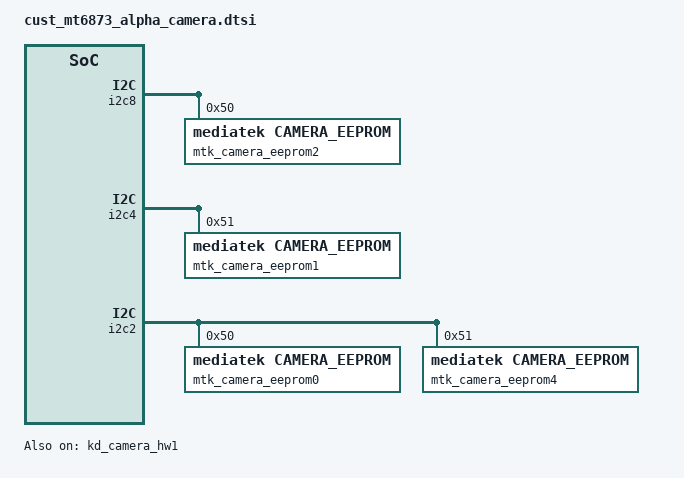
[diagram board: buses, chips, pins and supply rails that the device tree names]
/*
 * Copyright (c) 2019 MediaTek Inc.
 *
 * This program is free software; you can redistribute it and/or modify
 * it under the terms of the GNU General Public License version 2 as
 * published by the Free Software Foundation.
 *
 * This program is distributed in the hope that it will be useful,
 * but WITHOUT ANY WARRANTY; without even the implied warranty of
 * MERCHANTABILITY or FITNESS FOR A PARTICULAR PURPOSE.  See the
 * GNU General Public License for more details.
 */
/* CAMERA GPIO standardization */
&pio {
	camera_pins_cam0_rst_0: cam0@0 {
		pins_cmd_dat {
			pinmux = <PINMUX_GPIO143__FUNC_GPIO143>;
			slew-rate = <1>;
			output-low;
		};
	};
	camera_pins_cam0_rst_1: cam0@1 {
		pins_cmd_dat {
			pinmux = <PINMUX_GPIO143__FUNC_GPIO143>;
			slew-rate = <1>;
			output-high;
		};
	};
	camera_pins_cam0_pnd_0: cam0@2 {
		pins_cmd_dat {
			pinmux = <PINMUX_GPIO143__FUNC_GPIO143>;
			slew-rate = <1>;
			output-low;
		};
	};
	camera_pins_cam0_pnd_1: cam0@3 {
		pins_cmd_dat {
			pinmux = <PINMUX_GPIO143__FUNC_GPIO143>;
			slew-rate = <1>;
			output-high;
		};
	};
	camera_pins_cam1_rst_0: cam1@0 {
		pins_cmd_dat {
			pinmux = <PINMUX_GPIO130__FUNC_GPIO130>;
			slew-rate = <1>;
			output-low;
		};
	};
	camera_pins_cam1_rst_1: cam1@1 {
		pins_cmd_dat {
			pinmux = <PINMUX_GPIO130__FUNC_GPIO130>;
			slew-rate = <1>;
			output-high;
		};
	};
	camera_pins_cam1_pnd_0: cam1@2 {
		pins_cmd_dat {
			pinmux = <PINMUX_GPIO130__FUNC_GPIO130>;
			slew-rate = <1>;
			output-low;
		};
	};
	camera_pins_cam1_pnd_1: cam1@3 {
		pins_cmd_dat {
			pinmux = <PINMUX_GPIO130__FUNC_GPIO130>;
			slew-rate = <1>;
			output-high;
		};
	};
	camera_pins_cam2_rst_0: cam2@0 {
		pins_cmd_dat {
			pinmux = <PINMUX_GPIO144__FUNC_GPIO144>;
			slew-rate = <1>;
			output-low;
		};
	};
	camera_pins_cam2_rst_1: cam2@1 {
		pins_cmd_dat {
			pinmux = <PINMUX_GPIO144__FUNC_GPIO144>;
			slew-rate = <1>;
			output-high;
		};
	};
	camera_pins_cam2_pnd_0: cam2@2 {
		pins_cmd_dat {
			pinmux = <PINMUX_GPIO144__FUNC_GPIO144>;
			slew-rate = <1>;
			output-low;
		};
	};
	camera_pins_cam2_pnd_1: cam2@3 {
		pins_cmd_dat {
			pinmux = <PINMUX_GPIO144__FUNC_GPIO144>;
			slew-rate = <1>;
			output-high;
		};
	};
	camera_pins_cam3_rst_0: cam3@0 {
		pins_cmd_dat {
			pinmux = <PINMUX_GPIO145__FUNC_GPIO145>;
			slew-rate = <1>;
			output-low;
		};
	};
	camera_pins_cam3_rst_1: cam3@1 {
		pins_cmd_dat {
			pinmux = <PINMUX_GPIO145__FUNC_GPIO145>;
			slew-rate = <1>;
			output-high;
		};
	};
	camera_pins_cam3_pnd_0: cam3@2 {
		pins_cmd_dat {
			pinmux = <PINMUX_GPIO145__FUNC_GPIO145>;
			slew-rate = <1>;
			output-low;
		};
	};
	camera_pins_cam3_pnd_1: cam3@3 {
		pins_cmd_dat {
			pinmux = <PINMUX_GPIO145__FUNC_GPIO145>;
			slew-rate = <1>;
			output-high;
		};
	};
	camera_pins_cam4_rst_0: cam4@0 {
		pins_cmd_dat {
			pinmux = <PINMUX_GPIO132__FUNC_GPIO132>;
			slew-rate = <1>;
			output-low;
		};
	};
	camera_pins_cam4_rst_1: cam4@1 {
		pins_cmd_dat {
			pinmux = <PINMUX_GPIO132__FUNC_GPIO132>;
			slew-rate = <1>;
			output-high;
		};
	};
	camera_pins_cam4_pnd_0: cam4@2 {
		pins_cmd_dat {
			pinmux = <PINMUX_GPIO132__FUNC_GPIO132>;
			slew-rate = <1>;
			output-low;
		};
	};
	camera_pins_cam4_pnd_1: cam4@3 {
		pins_cmd_dat {
			pinmux = <PINMUX_GPIO132__FUNC_GPIO132>;
			slew-rate = <1>;
			output-high;
		};
	};
	camera_pins_cam5_rst_0: cam5@0 {
		pins_cmd_dat {
			pinmux = <PINMUX_GPIO131__FUNC_GPIO131>;
			slew-rate = <1>;
			output-low;
		};
	};
	camera_pins_cam5_rst_1: cam5@1 {
		pins_cmd_dat {
			pinmux = <PINMUX_GPIO131__FUNC_GPIO131>;
			slew-rate = <1>;
			output-high;
		};
	};
	camera_pins_cam5_pnd_0: cam5@2 {
		pins_cmd_dat {
			pinmux = <PINMUX_GPIO131__FUNC_GPIO131>;
			slew-rate = <1>;
			output-low;
		};
	};
	camera_pins_cam5_pnd_1: cam5@3 {
		pins_cmd_dat {
			pinmux = <PINMUX_GPIO131__FUNC_GPIO131>;
			slew-rate = <1>;
			output-high;
		};
	};
	camera_pins_cam0_vcamd_0: cam0@vcam0 {
		pins_cmd_dat {
			pinmux = <PINMUX_GPIO147__FUNC_GPIO147>;
			slew-rate = <1>;
			output-low;
		};
	};
	camera_pins_cam0_vcamd_1: cam0@vcam1 {
		pins_cmd_dat {
			pinmux = <PINMUX_GPIO147__FUNC_GPIO147>;
			slew-rate = <1>;
			output-high;
		};
	};
	camera_pins_cam0_vcama_0: cam0@vcam2 {
		pins_cmd_dat {
			pinmux = <PINMUX_GPIO146__FUNC_GPIO146>;
			slew-rate = <1>;
			output-low;
		};
	};
	camera_pins_cam0_vcama_1: cam0@vcam3 {
		pins_cmd_dat {
			pinmux = <PINMUX_GPIO146__FUNC_GPIO146>;
			slew-rate = <1>;
			output-high;
		};
	};
	camera_pins_cam1_vcamd_0: cam1@vcam0 {
		pins_cmd_dat {
			pinmux = <PINMUX_GPIO147__FUNC_GPIO147>;
			slew-rate = <1>;
			output-low;
		};
	};
	camera_pins_cam1_vcamd_1: cam1@vcam1 {
		pins_cmd_dat {
			pinmux = <PINMUX_GPIO147__FUNC_GPIO147>;
			slew-rate = <1>;
			output-high;
		};
	};
	camera_pins_cam1_vcama_0: cam1@vcam2 {
		pins_cmd_dat {
			pinmux = <PINMUX_GPIO134__FUNC_GPIO134>;
			slew-rate = <1>;
			output-low;
		};
	};
	camera_pins_cam1_vcama_1: cam1@vcam3 {
		pins_cmd_dat {
			pinmux = <PINMUX_GPIO134__FUNC_GPIO134>;
			slew-rate = <1>;
			output-high;
		};
	};
	camera_pins_cam2_vcamd_0: cam2@vcam0 {
		pins_cmd_dat {
			pinmux = <PINMUX_GPIO133__FUNC_GPIO133>;
			slew-rate = <1>;
			output-low;
		};
	};
	camera_pins_cam2_vcamd_1: cam2@vcam1 {
		pins_cmd_dat {
			pinmux = <PINMUX_GPIO133__FUNC_GPIO133>;
			slew-rate = <1>;
			output-high;
		};
	};
	camera_pins_cam2_vcama_0: cam2@vcam2 {
		pins_cmd_dat {
			pinmux = <PINMUX_GPIO134__FUNC_GPIO134>;
			slew-rate = <1>;
			output-low;
		};
	};
	camera_pins_cam2_vcama_1: cam2@vcam3 {
		pins_cmd_dat {
			pinmux = <PINMUX_GPIO134__FUNC_GPIO134>;
			slew-rate = <1>;
			output-high;
		};
	};
	camera_pins_cam3_vcamd_0: cam3@vcam0 {
		pins_cmd_dat {
			pinmux = <PINMUX_GPIO133__FUNC_GPIO133>;
			slew-rate = <1>;
			output-low;
		};
	};
	camera_pins_cam3_vcamd_1: cam3@vcam1 {
		pins_cmd_dat {
			pinmux = <PINMUX_GPIO133__FUNC_GPIO133>;
			slew-rate = <1>;
			output-high;
		};
	};
	camera_pins_cam3_vcama_0: cam3@vcam2 {
		pins_cmd_dat {
			pinmux = <PINMUX_GPIO146__FUNC_GPIO146>;
			slew-rate = <1>;
			output-low;
		};
	};
	camera_pins_cam3_vcama_1: cam3@vcam3 {
		pins_cmd_dat {
			pinmux = <PINMUX_GPIO146__FUNC_GPIO146>;
			slew-rate = <1>;
			output-high;
		};
	};
	camera_pins_cam4_vcamd_0: cam4@vcam0 {
		pins_cmd_dat {
			pinmux = <PINMUX_GPIO19__FUNC_GPIO19>;
			slew-rate = <1>;
			output-low;
		};
	};
	camera_pins_cam4_vcamd_1: cam4@vcam1 {
		pins_cmd_dat {
			pinmux = <PINMUX_GPIO19__FUNC_GPIO19>;
			slew-rate = <1>;
			output-high;
		};
	};
	camera_pins_cam4_vcama_0: cam4@vcam2 {
		pins_cmd_dat {
			pinmux = <PINMUX_GPIO134__FUNC_GPIO134>;
			slew-rate = <1>;
			output-low;
		};
	};
	camera_pins_cam4_vcama_1: cam4@vcam3 {
		pins_cmd_dat {
			pinmux = <PINMUX_GPIO134__FUNC_GPIO134>;
			slew-rate = <1>;
			output-high;
		};
	};
	camera_pins_cam5_vcamd_0: cam5@vcam0 {
		pins_cmd_dat {
			pinmux = <PINMUX_GPIO19__FUNC_GPIO19>;
			slew-rate = <1>;
			output-low;
		};
	};
	camera_pins_cam5_vcamd_1: cam5@vcam1 {
		pins_cmd_dat {
			pinmux = <PINMUX_GPIO19__FUNC_GPIO19>;
			slew-rate = <1>;
			output-high;
		};
	};
	camera_pins_cam5_vcama_0: cam5@vcam2 {
		pins_cmd_dat {
			pinmux = <PINMUX_GPIO134__FUNC_GPIO134>;
			slew-rate = <1>;
			output-low;
		};
	};
	camera_pins_cam5_vcama_1: cam5@vcam3 {
		pins_cmd_dat {
			pinmux = <PINMUX_GPIO134__FUNC_GPIO134>;
			slew-rate = <1>;
			output-high;
		};
	};
	camera_pins_cam0_mclk_off: camera_pins_cam0_mclk_off {
		pins_cmd_dat {
			pinmux = <PINMUX_GPIO149__FUNC_GPIO149>;
			drive-strength = <1>;
		};
	};
	camera_pins_cam0_mclk_2ma: camera_pins_cam0_mclk_2ma {
		pins_cmd_dat {
			pinmux = <PINMUX_GPIO149__FUNC_CMMCLK0>;
			drive-strength = <0>;
		};
	};
	camera_pins_cam0_mclk_4ma: camera_pins_cam0_mclk_4ma {
		pins_cmd_dat {
			pinmux = <PINMUX_GPIO149__FUNC_CMMCLK0>;
			drive-strength = <1>;
		};
	};
	camera_pins_cam0_mclk_6ma: camera_pins_cam0_mclk_6ma {
		pins_cmd_dat {
			pinmux = <PINMUX_GPIO149__FUNC_CMMCLK0>;
			drive-strength = <2>;
		};
	};
	camera_pins_cam0_mclk_8ma: camera_pins_cam0_mclk_8ma {
		pins_cmd_dat {
			pinmux = <PINMUX_GPIO149__FUNC_CMMCLK0>;
			drive-strength = <3>;
		};
	};
	camera_pins_cam1_mclk_off: camera_pins_cam1_mclk_off {
		pins_cmd_dat {
			pinmux = <PINMUX_GPIO136__FUNC_GPIO136>;
			drive-strength = <1>;
		};
	};
	camera_pins_cam1_mclk_2ma: camera_pins_cam1_mclk_2ma {
		pins_cmd_dat {
			pinmux = <PINMUX_GPIO136__FUNC_CMMCLK3>;
			drive-strength = <0>;
		};
	};
	camera_pins_cam1_mclk_4ma: camera_pins_cam1_mclk_4ma {
		pins_cmd_dat {
			pinmux = <PINMUX_GPIO136__FUNC_CMMCLK3>;
			drive-strength = <1>;
		};
	};
	camera_pins_cam1_mclk_6ma: camera_pins_cam1_mclk_6ma {
		pins_cmd_dat {
			pinmux = <PINMUX_GPIO136__FUNC_CMMCLK3>;
			drive-strength = <2>;
		};
	};
	camera_pins_cam1_mclk_8ma: camera_pins_cam1_mclk_8ma {
		pins_cmd_dat {
			pinmux = <PINMUX_GPIO136__FUNC_CMMCLK3>;
			drive-strength = <3>;
		};
	};
	camera_pins_cam2_mclk_off: camera_pins_cam2_mclk_off {
		pins_cmd_dat {
			pinmux = <PINMUX_GPIO150__FUNC_GPIO150>;
			drive-strength = <1>;
		};
	};
	camera_pins_cam2_mclk_2ma: camera_pins_cam2_mclk_2ma {
		pins_cmd_dat {
			pinmux = <PINMUX_GPIO150__FUNC_CMMCLK1>;
			drive-strength = <0>;
		};
	};
	camera_pins_cam2_mclk_4ma: camera_pins_cam2_mclk_4ma {
		pins_cmd_dat {
			pinmux = <PINMUX_GPIO150__FUNC_CMMCLK1>;
			drive-strength = <1>;
		};
	};
	camera_pins_cam2_mclk_6ma: camera_pins_cam2_mclk_6ma {
		pins_cmd_dat {
			pinmux = <PINMUX_GPIO150__FUNC_CMMCLK1>;
			drive-strength = <2>;
		};
	};
	camera_pins_cam2_mclk_8ma: camera_pins_cam2_mclk_8ma {
		pins_cmd_dat {
			pinmux = <PINMUX_GPIO150__FUNC_CMMCLK1>;
			drive-strength = <3>;
		};
	};
	camera_pins_cam3_mclk_off: camera_pins_cam3_mclk_off {
		pins_cmd_dat {
			pinmux = <PINMUX_GPIO151__FUNC_GPIO151>;
			drive-strength = <1>;
		};
	};
	camera_pins_cam3_mclk_2ma: camera_pins_cam3_mclk_2ma {
		pins_cmd_dat {
			pinmux = <PINMUX_GPIO151__FUNC_CMMCLK2>;
			drive-strength = <0>;
		};
	};
	camera_pins_cam3_mclk_4ma: camera_pins_cam3_mclk_4ma {
		pins_cmd_dat {
			pinmux = <PINMUX_GPIO151__FUNC_CMMCLK2>;
			drive-strength = <1>;
		};
	};
	camera_pins_cam3_mclk_6ma: camera_pins_cam3_mclk_6ma {
		pins_cmd_dat {
			pinmux = <PINMUX_GPIO151__FUNC_CMMCLK2>;
			drive-strength = <2>;
		};
	};
	camera_pins_cam3_mclk_8ma: camera_pins_cam3_mclk_8ma {
		pins_cmd_dat {
			pinmux = <PINMUX_GPIO151__FUNC_CMMCLK2>;
			drive-strength = <3>;
		};
	};
	camera_pins_cam4_mclk_off: camera_pins_cam4_mclk_off {
		pins_cmd_dat {
			pinmux = <PINMUX_GPIO138__FUNC_GPIO138>;
			drive-strength = <1>;
		};
	};
	camera_pins_cam4_mclk_2ma: camera_pins_cam4_mclk_2ma {
		pins_cmd_dat {
			pinmux = <PINMUX_GPIO138__FUNC_CMMCLK5>;
			drive-strength = <0>;
		};
	};
	camera_pins_cam4_mclk_4ma: camera_pins_cam4_mclk_4ma {
		pins_cmd_dat {
			pinmux = <PINMUX_GPIO138__FUNC_CMMCLK5>;
			drive-strength = <1>;
		};
	};
	camera_pins_cam4_mclk_6ma: camera_pins_cam4_mclk_6ma {
		pins_cmd_dat {
			pinmux = <PINMUX_GPIO138__FUNC_CMMCLK5>;
			drive-strength = <2>;
		};
	};
	camera_pins_cam4_mclk_8ma: camera_pins_cam4_mclk_8ma {
		pins_cmd_dat {
			pinmux = <PINMUX_GPIO138__FUNC_CMMCLK5>;
			drive-strength = <3>;
		};
	};

	camera_pins_cam5_mclk_off: camera_pins_cam5_mclk_off {
		pins_cmd_dat {
			pinmux = <PINMUX_GPIO137__FUNC_GPIO137>;
			drive-strength = <1>;
		};
	};
	camera_pins_cam5_mclk_2ma: camera_pins_cam5_mclk_2ma {
		pins_cmd_dat {
			pinmux = <PINMUX_GPIO137__FUNC_CMMCLK4>;
			drive-strength = <0>;
		};
	};
	camera_pins_cam5_mclk_4ma: camera_pins_cam5_mclk_4ma {
		pins_cmd_dat {
			pinmux = <PINMUX_GPIO137__FUNC_CMMCLK4>;
			drive-strength = <1>;
		};
	};
	camera_pins_cam5_mclk_6ma: camera_pins_cam5_mclk_6ma {
		pins_cmd_dat {
			pinmux = <PINMUX_GPIO137__FUNC_CMMCLK4>;
			drive-strength = <2>;
		};
	};
	camera_pins_cam5_mclk_8ma: camera_pins_cam5_mclk_8ma {
		pins_cmd_dat {
			pinmux = <PINMUX_GPIO137__FUNC_CMMCLK4>;
			drive-strength = <3>;
		};
	};
	camera_pins_cam_mipi_switch_en_1: mipi_en@1 {
		pins_cmd_dat {
			pinmux = <PINMUX_GPIO170__FUNC_GPIO170>;
			slew-rate = <1>;
			output-high;
		};
	};
	camera_pins_cam_mipi_switch_en_0: mipi_en@0 {
		pins_cmd_dat {
			pinmux = <PINMUX_GPIO170__FUNC_GPIO170>;
			slew-rate = <1>;
			output-low;
		};
	};
	camera4_pins_cam_mipi_switch_sel_1: mipi_sel@1 {
		pins_cmd_dat {
			pinmux = <PINMUX_GPIO19__FUNC_GPIO19>;
			slew-rate = <1>;
			output-high;
		};
	};
	camera4_pins_cam_mipi_switch_sel_0: mipi_sel@0 {
		pins_cmd_dat {
			pinmux = <PINMUX_GPIO19__FUNC_GPIO19>;
			slew-rate = <1>;
			output-low;
		};
	};
	camera_pins_default: camdefault {
	};
};
&kd_camera_hw1 {
	pinctrl-names = "default",
			"cam0_rst0", "cam0_rst1",
			"cam0_pnd0", "cam0_pnd1",
			"cam1_rst0", "cam1_rst1",
			"cam1_pnd0", "cam1_pnd1",
			"cam2_rst0", "cam2_rst1",
			"cam2_pnd0", "cam2_pnd1",
			"cam3_rst0", "cam3_rst1",
			"cam3_pnd0", "cam3_pnd1",
			"cam4_rst0", "cam4_rst1",
			"cam4_pnd0", "cam4_pnd1",
			"cam5_rst0", "cam5_rst1",
			"cam5_pnd0", "cam5_pnd1",
			"cam0_ldo_vcamd_0", "cam0_ldo_vcamd_1",
			"cam0_ldo_vcama_0", "cam0_ldo_vcama_1",
			"cam1_ldo_vcamd_0", "cam1_ldo_vcamd_1",
			"cam1_ldo_vcama_0", "cam1_ldo_vcama_1",
			"cam2_ldo_vcamd_0", "cam2_ldo_vcamd_1",
			"cam2_ldo_vcama_0", "cam2_ldo_vcama_1",
			"cam3_ldo_vcamd_0", "cam3_ldo_vcamd_1",
			"cam3_ldo_vcama_0", "cam3_ldo_vcama_1",
			"cam4_ldo_vcamd_0", "cam4_ldo_vcamd_1",
			"cam4_ldo_vcama_0", "cam4_ldo_vcama_1",
			"cam5_ldo_vcamd_0", "cam5_ldo_vcamd_1",
			"cam5_ldo_vcama_0", "cam5_ldo_vcama_1",
			"cam0_mclk_off",
			"cam0_mclk_2mA", "cam0_mclk_4mA",
			"cam0_mclk_6mA", "cam0_mclk_8mA",
			"cam1_mclk_off",
			"cam1_mclk_2mA", "cam1_mclk_4mA",
			"cam1_mclk_6mA", "cam1_mclk_8mA",
			"cam2_mclk_off",
			"cam2_mclk_2mA", "cam2_mclk_4mA",
			"cam2_mclk_6mA", "cam2_mclk_8mA",
			"cam3_mclk_off",
			"cam3_mclk_2mA", "cam3_mclk_4mA",
			"cam3_mclk_6mA", "cam3_mclk_8mA",
			"cam4_mclk_off",
			"cam4_mclk_2mA", "cam4_mclk_4mA",
			"cam4_mclk_6mA", "cam4_mclk_8mA",
			"cam5_mclk_off",
			"cam5_mclk_2mA", "cam5_mclk_4mA",
			"cam5_mclk_6mA", "cam5_mclk_8mA",
			"cam_mipi_switch_en_1", "cam_mipi_switch_en_0",
			"cam_mipi_switch_sel_1", "cam_mipi_switch_sel_0";
	pinctrl-0 = <&camera_pins_default>;
	pinctrl-1 = <&camera_pins_cam0_rst_0>;
	pinctrl-2 = <&camera_pins_cam0_rst_1>;
	pinctrl-3 = <&camera_pins_cam0_pnd_0>;
	pinctrl-4 = <&camera_pins_cam0_pnd_1>;
	pinctrl-5 = <&camera_pins_cam1_rst_0>;
	pinctrl-6 = <&camera_pins_cam1_rst_1>;
	pinctrl-7 = <&camera_pins_cam1_pnd_0>;
	pinctrl-8 = <&camera_pins_cam1_pnd_1>;
	pinctrl-9 = <&camera_pins_cam2_rst_0>;
	pinctrl-10 = <&camera_pins_cam2_rst_1>;
	pinctrl-11 = <&camera_pins_cam2_pnd_0>;
	pinctrl-12 = <&camera_pins_cam2_pnd_1>;
	pinctrl-13 = <&camera_pins_cam3_rst_0>;
	pinctrl-14 = <&camera_pins_cam3_rst_1>;
	pinctrl-15 = <&camera_pins_cam3_pnd_0>;
	pinctrl-16 = <&camera_pins_cam3_pnd_1>;
	pinctrl-17 = <&camera_pins_cam4_rst_0>;
	pinctrl-18 = <&camera_pins_cam4_rst_1>;
	pinctrl-19 = <&camera_pins_cam4_pnd_0>;
	pinctrl-20 = <&camera_pins_cam4_pnd_1>;
	pinctrl-21 = <&camera_pins_cam5_rst_0>;
	pinctrl-22 = <&camera_pins_cam5_rst_1>;
	pinctrl-23 = <&camera_pins_cam5_pnd_0>;
	pinctrl-24 = <&camera_pins_cam5_pnd_1>;
	pinctrl-25 = <&camera_pins_cam0_vcamd_0>;
	pinctrl-26 = <&camera_pins_cam0_vcamd_1>;
	pinctrl-27 = <&camera_pins_cam0_vcama_0>;
	pinctrl-28 = <&camera_pins_cam0_vcama_1>;
	pinctrl-29 = <&camera_pins_cam1_vcamd_0>;
	pinctrl-30 = <&camera_pins_cam1_vcamd_1>;
	pinctrl-31 = <&camera_pins_cam1_vcama_0>;
	pinctrl-32 = <&camera_pins_cam1_vcama_1>;
	pinctrl-33 = <&camera_pins_cam2_vcamd_0>;
	pinctrl-34 = <&camera_pins_cam2_vcamd_1>;
	pinctrl-35 = <&camera_pins_cam2_vcama_0>;
	pinctrl-36 = <&camera_pins_cam2_vcama_1>;
	pinctrl-37 = <&camera_pins_cam3_vcamd_0>;
	pinctrl-38 = <&camera_pins_cam3_vcamd_1>;
	pinctrl-39 = <&camera_pins_cam3_vcama_0>;
	pinctrl-40 = <&camera_pins_cam3_vcama_1>;
	pinctrl-41 = <&camera_pins_cam4_vcamd_0>;
	pinctrl-42 = <&camera_pins_cam4_vcamd_1>;
	pinctrl-43 = <&camera_pins_cam4_vcama_0>;
	pinctrl-44 = <&camera_pins_cam4_vcama_1>;
	pinctrl-45 = <&camera_pins_cam5_vcamd_0>;
	pinctrl-46 = <&camera_pins_cam5_vcamd_1>;
	pinctrl-47 = <&camera_pins_cam5_vcama_0>;
	pinctrl-48 = <&camera_pins_cam5_vcama_1>;
	pinctrl-49 = <&camera_pins_cam0_mclk_off>;
	pinctrl-50 = <&camera_pins_cam0_mclk_2ma>;
	pinctrl-51 = <&camera_pins_cam0_mclk_4ma>;
	pinctrl-52 = <&camera_pins_cam0_mclk_6ma>;
	pinctrl-53 = <&camera_pins_cam0_mclk_8ma>;
	pinctrl-54 = <&camera_pins_cam1_mclk_off>;
	pinctrl-55 = <&camera_pins_cam1_mclk_2ma>;
	pinctrl-56 = <&camera_pins_cam1_mclk_4ma>;
	pinctrl-57 = <&camera_pins_cam1_mclk_6ma>;
	pinctrl-58 = <&camera_pins_cam1_mclk_8ma>;
	pinctrl-59 = <&camera_pins_cam2_mclk_off>;
	pinctrl-60 = <&camera_pins_cam2_mclk_2ma>;
	pinctrl-61 = <&camera_pins_cam2_mclk_4ma>;
	pinctrl-62 = <&camera_pins_cam2_mclk_6ma>;
	pinctrl-63 = <&camera_pins_cam2_mclk_8ma>;
	pinctrl-64 = <&camera_pins_cam3_mclk_off>;
	pinctrl-65 = <&camera_pins_cam3_mclk_2ma>;
	pinctrl-66 = <&camera_pins_cam3_mclk_4ma>;
	pinctrl-67 = <&camera_pins_cam3_mclk_6ma>;
	pinctrl-68 = <&camera_pins_cam3_mclk_8ma>;
	pinctrl-69 = <&camera_pins_cam4_mclk_off>;
	pinctrl-70 = <&camera_pins_cam4_mclk_2ma>;
	pinctrl-71 = <&camera_pins_cam4_mclk_4ma>;
	pinctrl-72 = <&camera_pins_cam4_mclk_6ma>;
	pinctrl-73 = <&camera_pins_cam4_mclk_8ma>;
	pinctrl-74 = <&camera_pins_cam5_mclk_off>;
	pinctrl-75 = <&camera_pins_cam5_mclk_2ma>;
	pinctrl-76 = <&camera_pins_cam5_mclk_4ma>;
	pinctrl-77 = <&camera_pins_cam5_mclk_6ma>;
	pinctrl-78 = <&camera_pins_cam5_mclk_8ma>;
	pinctrl-79 = <&camera_pins_cam_mipi_switch_en_1>;
	pinctrl-80 = <&camera_pins_cam_mipi_switch_en_0>;
	pinctrl-81 = <&camera4_pins_cam_mipi_switch_sel_1>;
	pinctrl-82 = <&camera4_pins_cam_mipi_switch_sel_0>;

	cam0_vcamio-supply = <&mt_pmic_vcamio_ldo_reg>;
	cam1_vcamio-supply = <&mt_pmic_vcamio_ldo_reg>;
	cam2_vcamio-supply = <&mt_pmic_vcamio_ldo_reg>;
	cam3_vcamio-supply = <&mt_pmic_vcamio_ldo_reg>;
	cam4_vcamio-supply = <&mt_pmic_vcamio_ldo_reg>;
	cam5_vcamio-supply = <&mt_pmic_vcamio_ldo_reg>;

	vcamaf-supply = <&mt_pmic_vmch_ldo_reg>;
	vcammainaf-supply = <&mt_pmic_vmch_ldo_reg>;

	cam0_enable_sensor = "ov48b_mipi_raw";
	cam1_enable_sensor = "s5k3p9sp_mipi_raw";
	cam2_enable_sensor = "gc8054_mipi_raw";
	cam3_enable_sensor = "gc02m0b_mipi_mono";
	cam4_enable_sensor = "gc02m0b_mipi_mono1";
	cam5_enable_sensor = "gc02m0b_mipi_mono2 gc02k0b_mipi_mono";

	status = "okay";
};
/* CAMERA GPIO end */

/* CAMERA EEPROM */
&i2c8 {
	mtk_camera_eeprom2:camera_eeprom2@50 {
		compatible = "mediatek,camera_eeprom";
		reg = <0x50>;
		status = "okay";
	};
};
&i2c4 {
	mtk_camera_eeprom1:camera_eeprom1@51 {
		compatible = "mediatek,camera_eeprom";
		reg = <0x51>;
		status = "okay";
	};
};
&i2c2 {
	mtk_camera_eeprom0:camera_eeprom0@50 {
		compatible = "mediatek,camera_eeprom";
		reg = <0x50>;
		status = "okay";
	};
};
&i2c2 {
	mtk_camera_eeprom4:camera_eeprom4@51 {
		compatible = "mediatek,camera_eeprom";
		reg = <0x51>;
		status = "okay";
	};
};
/* CAMERA EEPROM end */
